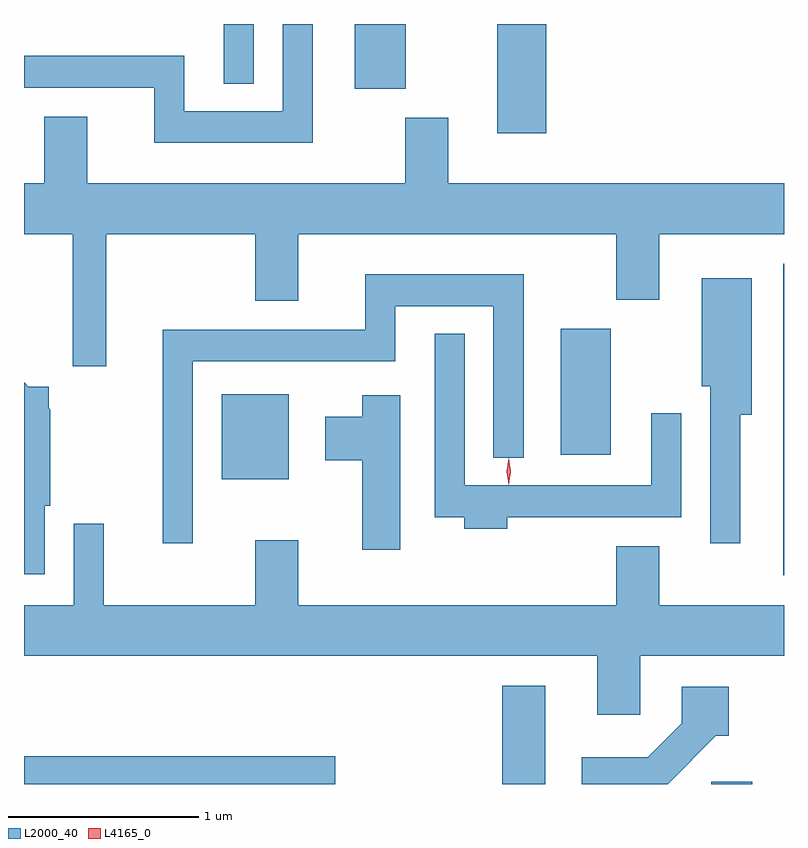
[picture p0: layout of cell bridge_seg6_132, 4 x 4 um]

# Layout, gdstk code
import gdstk
lib = gdstk.Library(unit=1e-6, precision=1e-09)
def R(c, l, rs):  # rectangles x0, y0, x1, y1
    for r in rs: c.add(gdstk.rectangle(r[:2], r[2:], *l))
def P(c, l, *ps):  # polygons
    for p in ps: c.add(gdstk.Polygon(p, *l))
L2000_40 = (2000, 40)
L4165_0 = (4165, 0)

bridge_seg6_132 = lib.new_cell('bridge_seg6_132')
R(bridge_seg6_132, L2000_40, [(1168.485,1627.062,1170.124,1627.209), (1171.001,1627.062,1171.229,1627.579), (1172.101,1627.062,1172.319,1627.074), (1172.481,1628.161,1172.485,1629.799), (1169.526,1628.666,1169.879,1629.114), (1171.311,1628.796,1171.574,1629.459), (1170.976,1630.486,1171.234,1631.062), (1170.226,1630.721,1170.494,1631.062), (1169.536,1630.748,1169.694,1631.062)])
P(bridge_seg6_132, L2000_40, [(1170.004,1631.062),(1169.846,1631.062),(1169.846,1630.604),(1169.329,1630.604),(1169.329,1630.894),(1168.485,1630.894),(1168.485,1630.726),(1169.171,1630.726),(1169.171,1630.436),(1170.004,1630.436)],
  [(1168.919,1629.956),(1169.701,1629.956),(1169.701,1629.606),(1169.929,1629.606),(1169.929,1629.956),(1171.601,1629.956),(1171.601,1629.611),(1171.829,1629.611),(1171.829,1629.956),(1172.485,1629.956),(1172.485,1630.224),(1170.719,1630.224),(1170.719,1630.569),(1170.491,1630.569),(1170.491,1630.224),(1168.819,1630.224),(1168.819,1630.574),(1168.591,1630.574),(1168.591,1630.224),(1168.485,1630.224),(1168.485,1629.956),(1168.741,1629.956),(1168.741,1629.261),(1168.919,1629.261)],
  [(1169.374,1629.286),(1170.439,1629.286),(1170.439,1629.576),(1170.956,1629.576),(1170.956,1628.778),(1171.114,1628.778),(1171.114,1629.744),(1170.281,1629.744),(1170.281,1629.454),(1169.216,1629.454),(1169.216,1628.328),(1169.374,1628.328)],
  [(1172.254,1629.006),(1172.314,1629.006),(1172.314,1629.724),(1172.051,1629.724),(1172.051,1629.156),(1172.096,1629.156),(1172.096,1628.328),(1172.254,1628.328)],
  [(1171.029,1628.466),(1171.944,1628.466),(1171.944,1629.013),(1171.786,1629.013),(1171.786,1628.634),(1170.804,1628.634),(1170.804,1629.433),(1170.646,1629.433),(1170.646,1628.466),(1170.801,1628.466),(1170.801,1628.406),(1171.029,1628.406)],
  [(1168.594,1628.526),(1168.624,1628.526),(1168.624,1629.031),(1168.614,1629.041),(1168.614,1629.154),(1168.507,1629.154),(1168.485,1629.176),(1168.485,1628.166),(1168.594,1628.166)],
  [(1170.464,1629.109),(1170.266,1629.109),(1170.266,1628.994),(1170.071,1628.994),(1170.071,1628.766),(1170.266,1628.766),(1170.266,1628.296),(1170.464,1628.296)],
  [(1171.729,1627.736),(1172.485,1627.736),(1172.485,1628.004),(1171.829,1628.004),(1171.829,1628.314),(1171.601,1628.314),(1171.601,1628.004),(1169.929,1628.004),(1169.929,1628.344),(1169.701,1628.344),(1169.701,1628.004),(1168.904,1628.004),(1168.904,1628.433),(1168.746,1628.433),(1168.746,1628.004),(1168.485,1628.004),(1168.485,1627.736),(1171.501,1627.736),(1171.501,1627.426),(1171.729,1627.426)],
  [(1172.127,1627.316),(1172.194,1627.316),(1172.194,1627.574),(1171.946,1627.574),(1171.946,1627.382),(1171.769,1627.204),(1171.421,1627.204),(1171.421,1627.062),(1171.873,1627.062)])
P(bridge_seg6_132, L4165_0, [(1171.036,1628.637),(1171.036,1628.637),(1171.026,1628.707),(1171.036,1628.776),(1171.036,1628.776),(1171.037,1628.776),(1171.046,1628.707),(1171.037,1628.637)],
  [(1171.036,1628.639),(1171.036,1628.64),(1171.026,1628.706),(1171.036,1628.772),(1171.036,1628.773),(1171.037,1628.772),(1171.046,1628.706),(1171.037,1628.64)])

lib.write_gds('bridge_seg6_132.gds')
